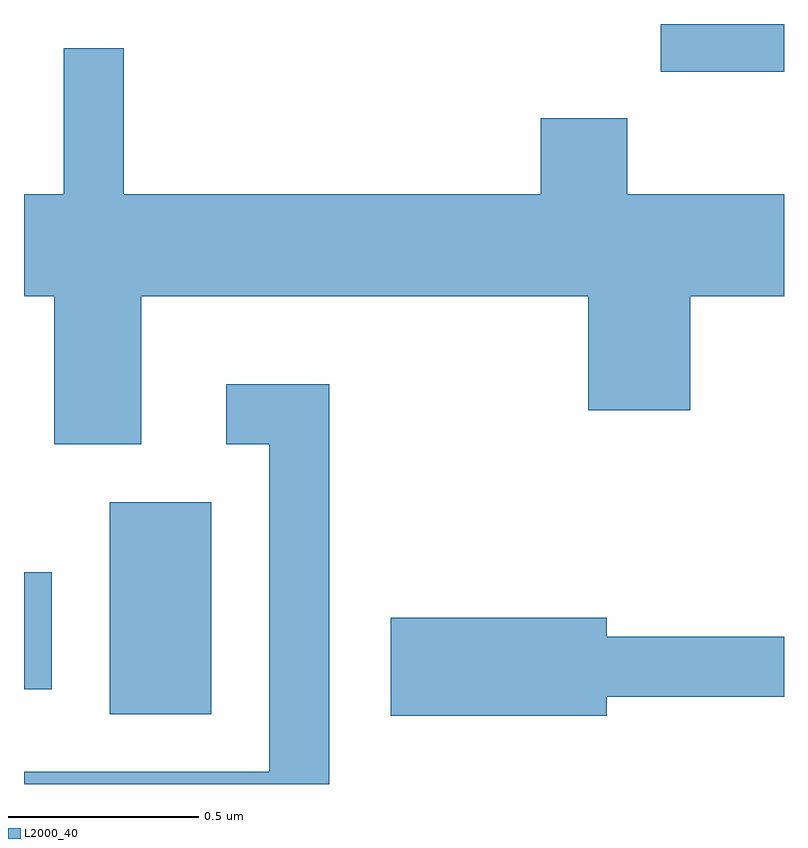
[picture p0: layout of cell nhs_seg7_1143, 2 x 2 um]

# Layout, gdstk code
import gdstk
lib = gdstk.Library(unit=1e-6, precision=1e-09)
def R(c, l, rs):  # rectangles x0, y0, x1, y1
    for r in rs: c.add(gdstk.rectangle(r[:2], r[2:], *l))
def P(c, l, *ps):  # polygons
    for p in ps: c.add(gdstk.Polygon(p, *l))
L2000_40 = (2000, 40)

nhs_seg7_1143 = lib.new_cell('nhs_seg7_1143')
R(nhs_seg7_1143, L2000_40, [(193.836,1715.436,194.104,1715.994), (193.611,1715.501,193.684,1715.809), (195.286,1717.126,195.611,1717.252)])
P(nhs_seg7_1143, L2000_40, [(193.919,1716.536),(195.096,1716.536),(195.096,1716.236),(195.364,1716.236),(195.364,1716.536),(195.611,1716.536),(195.611,1716.804),(195.199,1716.804),(195.199,1717.004),(194.971,1717.004),(194.971,1716.804),(193.874,1716.804),(193.874,1717.188),(193.716,1717.188),(193.716,1716.804),(193.611,1716.804),(193.611,1716.536),(193.691,1716.536),(193.691,1716.146),(193.919,1716.146)],
  [(194.414,1716.304),(194.143,1716.304),(194.143,1716.146),(194.256,1716.146),(194.256,1715.284),(193.611,1715.284),(193.611,1715.252),(194.414,1715.252)],
  [(195.144,1715.481),(195.611,1715.481),(195.611,1715.639),(195.144,1715.639),(195.144,1715.689),(194.576,1715.689),(194.576,1715.431),(195.144,1715.431)])

lib.write_gds('nhs_seg7_1143.gds')
